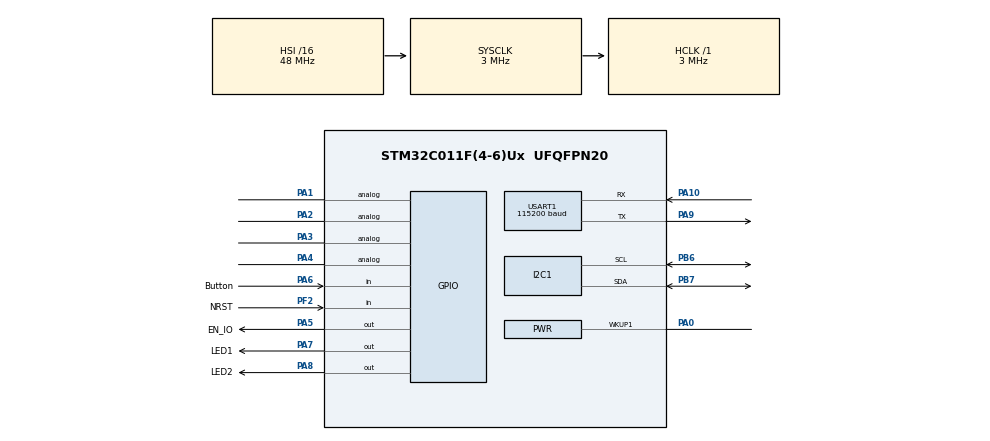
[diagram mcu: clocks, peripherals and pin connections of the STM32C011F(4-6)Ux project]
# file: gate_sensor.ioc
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I2C1.Timing=0x00100B0C
Mcu.Family=STM32C0
Mcu.Name=STM32C011F(4-6)Ux
Mcu.Package=UFQFPN20
NVIC.TIM14_IRQn=true\:0\:0\:true\:false\:true\:true\:true\:true
NVIC.TIM16_IRQn=true\:1\:0\:true\:false\:true\:true\:true\:true
PA0.Mode=WakeUp1
PA0.Signal=PWR_WKUP1
PA1.Signal=GPIO_Analog
PA10\ [PA12].Mode=Asynchronous
PA10\ [PA12].Signal=USART1_RX
PA13.Mode=Serial_Wire
PA13.Signal=DEBUG_SWDIO
PA14-BOOT0.Mode=Serial_Wire
PA14-BOOT0.Signal=DEBUG_SWCLK
PA2.Signal=GPIO_Analog
PA3.Signal=GPIO_Analog
PA4.Signal=GPIO_Analog
PA5.GPIO_Label=EN_IO
PA5.Signal=GPIO_Output
PA6.GPIO_Label=Button
PA6.GPIO_PuPd=GPIO_PULLUP
PA6.Signal=GPIO_Input
PA7.GPIO_Label=LED1
PA7.Signal=GPIO_Output
PA8.GPIO_Label=LED2
PA8.Signal=GPIO_Output
PA9\ [PA11].Mode=Asynchronous
PA9\ [PA11].Signal=USART1_TX
PB6.Mode=I2C
PB6.Signal=I2C1_SCL
PB7.Mode=I2C
PB7.Signal=I2C1_SDA
PC14-OSCX_IN\ (PC14).Signal=RCC_OSCX_IN
PC15-OSCX_OUT\ (PC15).Signal=RCC_OSCX_OUT
PF2-NRST.GPIO_Label=NRST
PF2-NRST.Signal=GPIO_Input
ProjectManager.HeapSize=0x200
ProjectManager.StackSize=0x400
ProjectManager.TargetToolchain=STM32CubeIDE
RCC.ADCFreq_Value=3000000
RCC.AHBFreq_Value=3000000
RCC.CortexFreq_Value=3000000
RCC.EXTERNAL_CLOCK_VALUE=12288000
RCC.HCLKFreq_Value=3000000
RCC.HSE_VALUE=8000000
RCC.HSISYSCLKDivider=RCC_HSI_DIV16
RCC.HSI_VALUE=48000000
RCC.LSE_VALUE=32768
RCC.SYSCLKFreq_VALUE=3000000
TIM14.ClockDivision=TIM_CLOCKDIVISION_DIV1
TIM14.Period=99
TIM14.Prescaler=299
TIM16.Period=9
TIM16.Prescaler=299
USART1.BaudRate=115200
USART1.OverSampling=UART_OVERSAMPLING_16
USART1.SwapParam=ADVFEATURE_SWAP_DISABLE
USART1.VirtualMode-Asynchronous=VM_ASYNC
VP_SYS_VS_PINREMAP.Mode=PINREMAP
VP_SYS_VS_PINREMAP_10_12.Mode=PINREMAP_10_12
VP_TIM14_VS_ClockSourceINT.Mode=Enable_Timer
VP_TIM16_VS_ClockSourceINT.Mode=Enable_Timer
board=custom

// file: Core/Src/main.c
/* USER CODE BEGIN Header */
/**
  ******************************************************************************
  * @file           : main.c
  * @brief          : Main program body
  ******************************************************************************
  * @attention
  *
  * Copyright (c) 2025 STMicroelectronics.
  * All rights reserved.
  *
  * This software is licensed under terms that can be found in the LICENSE file
  * in the root directory of this software component.
  * If no LICENSE file comes with this software, it is provided AS-IS.
  *
  ******************************************************************************
  */
/* USER CODE END Header */
#include "main.h"
#include "i2c.h"
#include "tim.h"
#include "usart.h"
#include "gpio.h"

/* USER CODE BEGIN Includes */
#include "stdbool.h"
#include "bma400.h"
#include "math.h"
#include <stdio.h>
#include <string.h>
/* USER CODE END Includes */

/* USER CODE BEGIN PD */
#define DIFF_STABLE_THRESHOLD 5.0f
#define DIFF_STABLE_COUNT       30
/* USER CODE END PD */

/* USER CODE BEGIN PV */
volatile uint16_t motion_time = 0;
volatile uint8_t send_flag = 0;
volatile uint16_t send_time = 0;
volatile uint8_t go_sleep = 0;

static float prev_y = 0.0f;
static bool prev_valid = false;
static uint16_t stable_count = 0;

struct bma400_dev bma400 = {
	.intf = BMA400_I2C_INTF,
	.intf_ptr = &hi2c1,
	.read = user_i2c_read,
	.write = user_i2c_write,
	.delay_us = user_delay_us
};
/* USER CODE END PV */

void SystemClock_Config(void);

/* USER CODE BEGIN 0 */
static void debug_uart(const char *msg)
{
    HAL_UART_Transmit(&huart1, (uint8_t*)msg, strlen(msg), HAL_MAX_DELAY);
}

void enterShutdown(void)
{
	HAL_PWREx_EnablePullUpPullDownConfig();
	HAL_PWREx_DisableGPIOPullUp(PWR_GPIO_A, GPIO_PIN_ALL);
	HAL_PWREx_DisableGPIOPullDown(PWR_GPIO_A, GPIO_PIN_ALL);
	HAL_PWREx_DisableGPIOPullUp(PWR_GPIO_B, GPIO_PIN_ALL);
	HAL_PWREx_DisableGPIOPullDown(PWR_GPIO_B, GPIO_PIN_ALL);
	HAL_PWREx_DisableGPIOPullUp(PWR_GPIO_C, GPIO_PIN_ALL);
	HAL_PWREx_DisableGPIOPullDown(PWR_GPIO_C, GPIO_PIN_ALL);
	HAL_PWREx_DisableGPIOPullUp(PWR_GPIO_F, GPIO_PIN_ALL);
	HAL_PWREx_DisableGPIOPullDown(PWR_GPIO_F, GPIO_PIN_ALL);
	HAL_PWREx_DisablePullUpPullDownConfig();

	__HAL_RCC_GPIOB_CLK_DISABLE();
	__HAL_RCC_GPIOC_CLK_DISABLE();
	__HAL_RCC_GPIOF_CLK_DISABLE();
	__HAL_RCC_USART1_CLK_DISABLE();

	__HAL_PWR_CLEAR_FLAG(PWR_FLAG_WUF);
  	HAL_PWR_EnableWakeUpPin(PWR_WAKEUP_PIN1);

    HAL_ResumeTick();
    HAL_Delay(5);
    HAL_SuspendTick();

    HAL_PWREx_EnterSHUTDOWNMode();
}

// Configure BMA400 for low power + wake-up on Y-axis motion
void configureBMA400(struct bma400_dev *dev)
{
	bma400_set_power_mode(BMA400_MODE_LOW_POWER, dev);

	struct bma400_device_conf dev_conf[] = {
		{
			.type = BMA400_AUTO_LOW_POWER,	// auto low power after movement stops
			.param.auto_lp = {
				.auto_low_power_trigger = BMA400_AUTO_LP_GEN1_TRIGGER | BMA400_AUTO_LP_TIMEOUT_EN | BMA400_AUTO_LP_TIME_RESET_EN,
				.auto_lp_timeout_threshold = 100	// 200 x 2.5 ms =  500 ms
			}
		},
		{
			.type = BMA400_AUTOWAKEUP_INT,	// wake-up interrupt on motion detection on Y axis
			.param.wakeup = {
				.wakeup_ref_update = BMA400_UPDATE_ONE_TIME,
				.sample_count = BMA400_SAMPLE_COUNT_1,
				.wakeup_axes_en = BMA400_AXIS_Y_EN,
				.int_wkup_threshold = 20,				// 5 mg threshold
				.int_chan = BMA400_INT_CHANNEL_1
			}
		},
		{
			.type = BMA400_INT_PIN_CONF,	// configure interrupt pin
			.param.int_conf = {
				.int_chan = BMA400_INT_CHANNEL_1,
				.pin_conf = BMA400_INT_OPEN_DRAIN_ACTIVE_0
			}
		}
	};

	bma400_set_device_conf(dev_conf, 3, dev);

	struct bma400_sensor_conf sensor_conf = {
		.type = BMA400_ACCEL,	// configure accelerometer
		.param.accel = {
			.range = BMA400_RANGE_2G,
			.data_src = BMA400_DATA_SRC_ACCEL_FILT_LP,
			.osr = BMA400_ACCEL_OSR_SETTING_0,
			.odr = BMA400_ODR_100HZ
		}
	};

	bma400_set_sensor_conf(&sensor_conf, 1, dev);
	set_auto_wakeup(BMA400_ENABLE, dev);	// enable auto wake up
}

void SendESP(UART_HandleTypeDef *huart, uint16_t value) {
	char msg[16];
	snprintf(msg, sizeof(msg), "%u\n", value);

	HAL_GPIO_WritePin(EN_IO_GPIO_Port, EN_IO_Pin, SET);
	HAL_Delay(280);
	HAL_UART_Transmit(huart, (uint8_t *)msg, strlen(msg), HAL_MAX_DELAY);
	HAL_Delay(2);
	HAL_GPIO_WritePin(EN_IO_GPIO_Port, EN_IO_Pin, RESET);
	HAL_Delay(70);
}
/* USER CODE END 0 */

int main(void)
{

  /* MCU Configuration--------------------------------------------------------*/

  /* Reset of all peripherals, Initializes the Flash interface and the Systick. */
  HAL_Init();

  /* Configure the system clock */
  SystemClock_Config();

  /* Initialize all configured peripherals */
  MX_GPIO_Init();
  MX_USART1_UART_Init();
  MX_TIM14_Init();
  MX_TIM16_Init();
  MX_I2C1_Init();
  /* USER CODE BEGIN 2 */
  //HAL_PWREx_DisableGPIOPullUp(PWR_GPIO_B, PWR_GPIO_BIT_2);
  //HAL_PWREx_DisablePullUpPullDownConfig();
  bma400_init(&bma400);
  configureBMA400(&bma400);
  HAL_ResumeTick();
  HAL_Delay(10);
  HAL_SuspendTick();
  debug_uart("woke up\n");

  HAL_TIM_Base_Start_IT(&htim14);
  HAL_TIM_Base_Start_IT(&htim16);
  /* USER CODE END 2 */

  /* Infinite loop */
  /* USER CODE BEGIN WHILE */
  while (1)
  {
	  if (send_flag)
	  {
	      send_flag = 0;
	      HAL_ResumeTick();
	      SendESP(&huart1, send_time);
	      HAL_SuspendTick();
	  }

	  if (go_sleep)
	  {
		  go_sleep = 0;
		  enterShutdown();
	  }
    /* USER CODE END WHILE */

  }
}

void SystemClock_Config(void)
{
  RCC_OscInitTypeDef RCC_OscInitStruct = {0};
  RCC_ClkInitTypeDef RCC_ClkInitStruct = {0};

  __HAL_FLASH_SET_LATENCY(FLASH_LATENCY_0);

  /** Initializes the RCC Oscillators according to the specified parameters
  * in the RCC_OscInitTypeDef structure.
  */
  RCC_OscInitStruct.OscillatorType = RCC_OSCILLATORTYPE_HSI;
  RCC_OscInitStruct.HSIState = RCC_HSI_ON;
  RCC_OscInitStruct.HSIDiv = RCC_HSI_DIV16;
  RCC_OscInitStruct.HSICalibrationValue = RCC_HSICALIBRATION_DEFAULT;
  if (HAL_RCC_OscConfig(&RCC_OscInitStruct) != HAL_OK)
  {
    Error_Handler();
  }

  /** Initializes the CPU, AHB and APB buses clocks
  */
  RCC_ClkInitStruct.ClockType = RCC_CLOCKTYPE_HCLK|RCC_CLOCKTYPE_SYSCLK
                              |RCC_CLOCKTYPE_PCLK1;
  RCC_ClkInitStruct.SYSCLKSource = RCC_SYSCLKSOURCE_HSI;
  RCC_ClkInitStruct.SYSCLKDivider = RCC_SYSCLK_DIV1;
  RCC_ClkInitStruct.AHBCLKDivider = RCC_HCLK_DIV1;
  RCC_ClkInitStruct.APB1CLKDivider = RCC_APB1_DIV1;

  if (HAL_RCC_ClockConfig(&RCC_ClkInitStruct, FLASH_LATENCY_0) != HAL_OK)
  {
    Error_Handler();
  }
}

/* USER CODE BEGIN 4 */
void HAL_TIM_PeriodElapsedCallback(TIM_HandleTypeDef *htim)
{
    if (htim->Instance == TIM16)
    {
        motion_time++;

        static uint16_t tick_counter = 0;
        tick_counter++;
        if (tick_counter >= 2000)
        {
            tick_counter = 0;
            send_flag = 1;
            send_time = motion_time;
        }
	}

    if (htim->Instance == TIM14)
    {
        struct bma400_sensor_data sample;
        if (bma400_get_accel_data(BMA400_DATA_ONLY, &sample, &bma400) == BMA400_OK)
        {
            if (prev_valid)
            {
                float diff = fabsf(sample.y - prev_y);

                if (diff <= DIFF_STABLE_THRESHOLD && stable_count < DIFF_STABLE_COUNT)
                {
                    stable_count++;
                }
                else
                {
                    stable_count = 0;
                }

                if (stable_count >= DIFF_STABLE_COUNT)
                {
                    HAL_TIM_Base_Stop_IT(&htim14);
                    HAL_TIM_Base_Stop_IT(&htim16);

                    send_time = motion_time;
                    send_flag = 1;

                    stable_count = 0;
                    prev_valid = false;
                    go_sleep = 1;
                }
            }

            prev_y = sample.y;
            prev_valid = true;
        }
    }
}
/* USER CODE END 4 */

void Error_Handler(void)
{
  /* USER CODE BEGIN Error_Handler_Debug */
  /* User can add his own implementation to report the HAL error return state */
  HAL_GPIO_WritePin(LED2_GPIO_Port, LED2_Pin, SET);
  while (1)
  {

  }
  /* USER CODE END Error_Handler_Debug */
}
